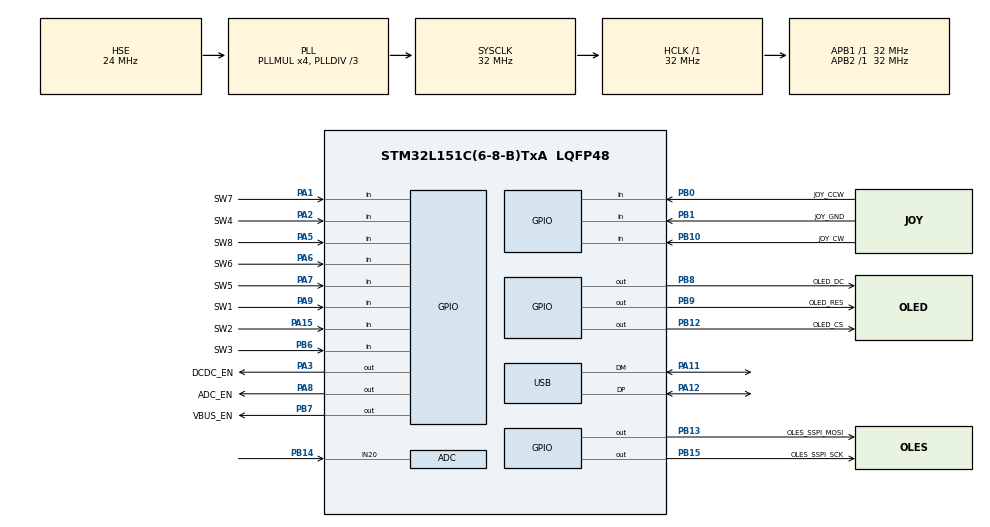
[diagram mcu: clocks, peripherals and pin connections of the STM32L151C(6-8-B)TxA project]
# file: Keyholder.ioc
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ADC.Channel-0\#ChannelRegularConversion=ADC_CHANNEL_20
ADC.NbrOfConversionFlag=1
ADC.Rank-0\#ChannelRegularConversion=1
ADC.SamplingTime-0\#ChannelRegularConversion=ADC_SAMPLETIME_4CYCLES
AL94.I-CUBE-USBD-COMPOSITE.1.0.3.CompositeCcUSBJjCOMPOSITEJjCDCIiACM=true
AL94.I-CUBE-USBD-COMPOSITE.1.0.3.CompositeCcUSBJjCOMPOSITEJjCOMPOSITE=true
AL94.I-CUBE-USBD-COMPOSITE.1.0.3.CompositeCcUSBJjCOMPOSITEJjCore=true
AL94.I-CUBE-USBD-COMPOSITE.1.0.3.CompositeCcUSBJjCOMPOSITEJjHIDIiKEYBOARD=true
AL94.I-CUBE-USBD-COMPOSITE.1.0.3.CompositeCcUSBJjCOMPOSITEJjMSCIiBOT=true
AL94.I-CUBE-USBD-COMPOSITE.1.0.3._STM32F1_DEVICE=true
AL94.I-CUBE-USBD-COMPOSITE.1.0.3._USBD_CDC_ACM_COUNT=1
AL94.I-CUBE-USBD-COMPOSITE.1.0.3._USBD_USE_CDC_ACM=true
AL94.I-CUBE-USBD-COMPOSITE.1.0.3._USBD_USE_HID_KEYBOARD=true
AL94.I-CUBE-USBD-COMPOSITE.1.0.3._USBD_USE_MSC=false
Mcu.Family=STM32L1
Mcu.Name=STM32L151C(6-8-B)TxA
Mcu.Package=LQFP48
NVIC.PriorityGroup=NVIC_PRIORITYGROUP_4
NVIC.TIM6_IRQn=true\:0\:0\:false\:false\:true\:true\:true\:true
NVIC.TIM7_IRQn=true\:0\:0\:false\:false\:true\:true\:true\:true
NVIC.USB_HP_IRQn=true\:0\:0\:false\:false\:true\:true\:true\:true
NVIC.USB_LP_IRQn=true\:0\:0\:false\:false\:true\:true\:true\:true
PA1.GPIO_Label=SW7
PA1.GPIO_PuPd=GPIO_PULLUP
PA1.Signal=GPIO_Input
PA11.Mode=Device
PA11.Signal=USB_DM
PA12.Mode=Device
PA12.Signal=USB_DP
PA13.Mode=Serial_Wire
PA13.Signal=SYS_JTMS-SWDIO
PA14.Mode=Serial_Wire
PA14.Signal=SYS_JTCK-SWCLK
PA15.GPIO_Label=SW2
PA15.GPIO_PuPd=GPIO_PULLUP
PA15.Signal=GPIO_Input
PA2.GPIO_Label=SW4
PA2.GPIO_PuPd=GPIO_PULLUP
PA2.Signal=GPIO_Input
PA3.GPIO_Label=DCDC_EN
PA3.Signal=GPIO_Output
PA5.GPIO_Label=SW8
PA5.GPIO_PuPd=GPIO_PULLUP
PA5.Signal=GPIO_Input
PA6.GPIO_Label=SW6
PA6.GPIO_PuPd=GPIO_PULLUP
PA6.Signal=GPIO_Input
PA7.GPIO_Label=SW5
PA7.GPIO_PuPd=GPIO_PULLUP
PA7.Signal=GPIO_Input
PA8.GPIO_Label=ADC_EN
PA8.Signal=GPIO_Output
PA9.GPIO_Label=SW1
PA9.GPIO_PuPd=GPIO_PULLUP
PA9.Signal=GPIO_Input
PB0.GPIO_Label=JOY_CCW
PB0.GPIO_PuPd=GPIO_PULLUP
PB0.Signal=GPIO_Input
PB1.GPIO_Label=JOY_GND
PB1.GPIO_PuPd=GPIO_PULLUP
PB1.Signal=GPIO_Input
PB10.GPIO_Label=JOY_CW
PB10.GPIO_PuPd=GPIO_PULLUP
PB10.Signal=GPIO_Input
PB12.GPIO_Label=OLED_CS
PB12.Signal=GPIO_Output
PB13.GPIO_Label=OLES_SSPI_MOSI
PB13.GPIO_Speed=GPIO_SPEED_FREQ_VERY_HIGH
PB13.Signal=GPIO_Output
PB14.Mode=IN20
PB14.Signal=ADC_IN20
PB15.GPIO_Label=OLES_SSPI_SCK
PB15.GPIO_Speed=GPIO_SPEED_FREQ_VERY_HIGH
PB15.Signal=GPIO_Output
PB6.GPIO_Label=SW3
PB6.GPIO_PuPd=GPIO_PULLUP
PB6.Signal=GPIO_Input
PB7.GPIO_Label=VBUS_EN
PB7.Signal=GPIO_Output
PB8.GPIO_Label=OLED_DC
PB8.Signal=GPIO_Output
PB9.GPIO_Label=OLED_RES
PB9.Signal=GPIO_Output
PC14-OSC32_IN.Mode=LSE-External-Oscillator
PC14-OSC32_IN.Signal=RCC_OSC32_IN
PC15-OSC32_OUT.Mode=LSE-External-Oscillator
PC15-OSC32_OUT.Signal=RCC_OSC32_OUT
PH0-OSC_IN.Mode=HSE-External-Oscillator
PH0-OSC_IN.Signal=RCC_OSC_IN
PH1-OSC_OUT.Mode=HSE-External-Oscillator
PH1-OSC_OUT.Signal=RCC_OSC_OUT
ProjectManager.HeapSize=0x1600
ProjectManager.StackSize=0x800
ProjectManager.TargetToolchain=MDK-ARM V5.32
RCC.48MHZClocksFreq_Value=48000000
RCC.AHBFreq_Value=32000000
RCC.APB1Freq_Value=32000000
RCC.APB1TimFreq_Value=32000000
RCC.APB2Freq_Value=32000000
RCC.APB2TimFreq_Value=32000000
RCC.HCLKFreq_Value=32000000
RCC.HSE_VALUE=24000000
RCC.HSI_VALUE=16000000
RCC.MSI_VALUE=2097000
RCC.PLLDIV=RCC_PLL_DIV3
RCC.PLLMUL=RCC_PLL_MUL4
RCC.SYSCLKFreq_VALUE=32000000
RCC.SYSCLKSource=RCC_SYSCLKSOURCE_PLLCLK
RCC.VCOOutputFreq_Value=96000000
TIM6.Period=9999
TIM6.Prescaler=23
TIM7.Period=8000
TIM7.Prescaler=10000
TIM7.TIM_MasterOutputTrigger=TIM_TRGO_RESET
USB.low_power_enable=DISABLE
USB.lpm_enable=ENABLE
VP_AL94.I-CUBE-USBD-COMPOSITE_VS_USBJjComposite_1.0.0_1.0.3.Mode=USBJjComposite
VP_RTC_VS_RTC_Activate.Mode=RTC_Enabled
VP_TIM6_VS_ClockSourceINT.Mode=Enable_Timer
VP_TIM7_VS_ClockSourceINT.Mode=Enable_Timer
VP_TIM7_VS_OPM.Mode=OPM_bit
board=custom

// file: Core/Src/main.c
/* USER CODE BEGIN Header */
/**
  ******************************************************************************
  * @file           : main.c
  * @brief          : Main program body
  ******************************************************************************
  * @attention
  *
  * Copyright (c) 2022 STMicroelectronics.
  * All rights reserved.
  *
  * This software is licensed under terms that can be found in the LICENSE file
  * in the root directory of this software component.
  * If no LICENSE file comes with this software, it is provided AS-IS.
  *
  ******************************************************************************
  */
/* USER CODE END Header */
#include "main.h"
#include "adc.h"
#include "rtc.h"
#include "tim.h"
#include "usb.h"
#include "gpio.h"

/* USER CODE BEGIN Includes */

//#include "usbd_core.h"
//#include "usbd_desc.h"
#include "core.h"
#include "usb_device.h"
//#include "fatfs_sd.h"
//#include "usbd_custom_hid_if.h"

//#include "usbd_cdc_if.h"
#include "ssd1306.h"
#include "ssd1306_tests.h"
#include "crypto.h"
#include "ui/core.h"
#include "system.h"
#include "comd.h"
//#include "usbd_hid.h"
//#include "usb.h"

/* USER CODE END Includes */

void SystemClock_Config(void);
/* USER CODE BEGIN PFP */
void SystemClock_Slow_Config(void);
/* USER CODE END PFP */

/* USER CODE BEGIN 0 */
char buffer[128];
//	static FATFS g_sFatFs;
//	FRESULT fresult;
//	FIL file;
//	int len;
//	UINT bytes_written;
/* USER CODE END 0 */

int main(void)
{

  /* MCU Configuration--------------------------------------------------------*/

  /* Reset of all peripherals, Initializes the Flash interface and the Systick. */
  HAL_Init();

  /* USER CODE BEGIN Init */

	//GPIO_PinRemapConfig(GPIO_Remap_I2C1,ENABLE);
  /* USER CODE END Init */

  /* Configure the system clock */
  SystemClock_Config();

  /* USER CODE BEGIN SysInit */
	GPIOA->MODER = 0xFFFFFFFF;
	GPIOB->MODER = 0xFFFFFFFF;
	GPIOC->MODER = 0xFFFFFFFF;
  /* USER CODE END SysInit */

  /* Initialize all configured peripherals */
  MX_GPIO_Init();
  MX_TIM6_Init();
  MX_TIM7_Init();
  MX_ADC_Init();
  MX_RTC_Init();
  MX_USB_PCD_Init();
  /* USER CODE BEGIN 2 */

	HAL_GPIO_WritePin(VBUS_EN_GPIO_Port, VBUS_EN_Pin, GPIO_PIN_RESET);
	crypto_init();
	MX_USB_DEVICE_Init();

	// High speed GPIO
	OLES_SSPI_MOSI_GPIO_Port->OSPEEDR |= GPIO_OSPEEDER_OSPEEDR15_Msk  | GPIO_OSPEEDER_OSPEEDR13_Msk;
	OLES_SSPI_MOSI_GPIO_Port->OSPEEDR |= GPIO_OSPEEDER_OSPEEDR1_Msk  | GPIO_OSPEEDER_OSPEEDR0_Msk | GPIO_OSPEEDER_OSPEEDR10_Msk;
  /* USER CODE END 2 */

  /* Infinite loop */
  /* USER CODE BEGIN WHILE */

	CORE_Init();
  while (1)
  {
		CORE_Process();
    /* USER CODE END WHILE */

  }
}

void SystemClock_Config(void)
{
  RCC_OscInitTypeDef RCC_OscInitStruct = {0};
  RCC_ClkInitTypeDef RCC_ClkInitStruct = {0};
  RCC_PeriphCLKInitTypeDef PeriphClkInit = {0};

  /** Configure the main internal regulator output voltage
  */
  __HAL_PWR_VOLTAGESCALING_CONFIG(PWR_REGULATOR_VOLTAGE_SCALE1);

  /** Initializes the RCC Oscillators according to the specified parameters
  * in the RCC_OscInitTypeDef structure.
  */
  RCC_OscInitStruct.OscillatorType = RCC_OSCILLATORTYPE_HSI|RCC_OSCILLATORTYPE_LSI
                              |RCC_OSCILLATORTYPE_HSE;
  RCC_OscInitStruct.HSEState = RCC_HSE_ON;
  RCC_OscInitStruct.HSIState = RCC_HSI_ON;
  RCC_OscInitStruct.HSICalibrationValue = RCC_HSICALIBRATION_DEFAULT;
  RCC_OscInitStruct.LSIState = RCC_LSI_ON;
  RCC_OscInitStruct.PLL.PLLState = RCC_PLL_ON;
  RCC_OscInitStruct.PLL.PLLSource = RCC_PLLSOURCE_HSE;
  RCC_OscInitStruct.PLL.PLLMUL = RCC_PLL_MUL4;
  RCC_OscInitStruct.PLL.PLLDIV = RCC_PLL_DIV3;
  if (HAL_RCC_OscConfig(&RCC_OscInitStruct) != HAL_OK)
  {
    Error_Handler();
  }

  /** Initializes the CPU, AHB and APB buses clocks
  */
  RCC_ClkInitStruct.ClockType = RCC_CLOCKTYPE_HCLK|RCC_CLOCKTYPE_SYSCLK
                              |RCC_CLOCKTYPE_PCLK1|RCC_CLOCKTYPE_PCLK2;
  RCC_ClkInitStruct.SYSCLKSource = RCC_SYSCLKSOURCE_PLLCLK;
  RCC_ClkInitStruct.AHBCLKDivider = RCC_SYSCLK_DIV1;
  RCC_ClkInitStruct.APB1CLKDivider = RCC_HCLK_DIV1;
  RCC_ClkInitStruct.APB2CLKDivider = RCC_HCLK_DIV1;

  if (HAL_RCC_ClockConfig(&RCC_ClkInitStruct, FLASH_LATENCY_1) != HAL_OK)
  {
    Error_Handler();
  }
  PeriphClkInit.PeriphClockSelection = RCC_PERIPHCLK_RTC;
  PeriphClkInit.RTCClockSelection = RCC_RTCCLKSOURCE_LSI;
  if (HAL_RCCEx_PeriphCLKConfig(&PeriphClkInit) != HAL_OK)
  {
    Error_Handler();
  }
}

/* USER CODE BEGIN 4 */
void SystemClock_Slow_Config(void)
{
  RCC_OscInitTypeDef RCC_OscInitStruct = {0};
  RCC_ClkInitTypeDef RCC_ClkInitStruct = {0};

  /** Configure the main internal regulator output voltage
  */
  __HAL_PWR_VOLTAGESCALING_CONFIG(PWR_REGULATOR_VOLTAGE_SCALE3);

  /** Initializes the RCC Oscillators according to the specified parameters
  * in the RCC_OscInitTypeDef structure.
  */
	RCC_OscInitStruct.OscillatorType = RCC_OSCILLATORTYPE_HSI;
	RCC_OscInitStruct.MSIState = RCC_MSI_ON;
	RCC_OscInitStruct.HSEState = RCC_HSE_OFF;
  RCC_OscInitStruct.HSIState = RCC_HSI_ON;
	RCC_OscInitStruct.MSIClockRange = RCC_MSIRANGE_0;
	RCC_OscInitStruct.HSICalibrationValue = RCC_HSICALIBRATION_DEFAULT;
	RCC_OscInitStruct.MSICalibrationValue = RCC_MSICALIBRATION_DEFAULT;
	RCC_OscInitStruct.PLL.PLLState = RCC_PLL_OFF;
	if (HAL_RCC_OscConfig(&RCC_OscInitStruct) != HAL_OK)
  {
    Error_Handler();
  }

  /** Initializes the CPU, AHB and APB buses clocks
  */
  RCC_ClkInitStruct.ClockType = RCC_CLOCKTYPE_HCLK|RCC_CLOCKTYPE_SYSCLK
                              |RCC_CLOCKTYPE_PCLK1|RCC_CLOCKTYPE_PCLK2;
  RCC_ClkInitStruct.SYSCLKSource = RCC_SYSCLKSOURCE_HSI;
  RCC_ClkInitStruct.AHBCLKDivider = RCC_SYSCLK_DIV1;
  RCC_ClkInitStruct.APB1CLKDivider = RCC_HCLK_DIV1;
  RCC_ClkInitStruct.APB2CLKDivider = RCC_HCLK_DIV1;

  if (HAL_RCC_ClockConfig(&RCC_ClkInitStruct, FLASH_LATENCY_0) != HAL_OK)
  {
    Error_Handler();
  }
}

/* USER CODE END 4 */

void Error_Handler(void)
{
  __disable_irq();
  while (1)
  {
  }
}
